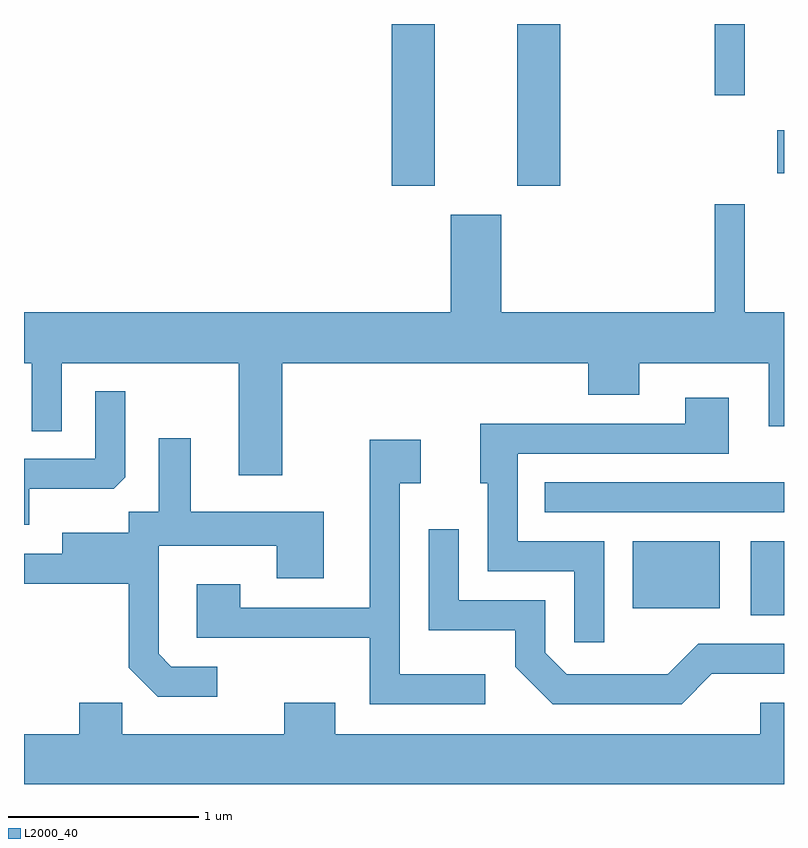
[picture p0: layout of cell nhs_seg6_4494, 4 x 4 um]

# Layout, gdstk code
import gdstk
lib = gdstk.Library(unit=1e-6, precision=1e-09)
def R(c, l, rs):  # rectangles x0, y0, x1, y1
    for r in rs: c.add(gdstk.rectangle(r[:2], r[2:], *l))
def P(c, l, *ps):  # polygons
    for p in ps: c.add(gdstk.Polygon(p, *l))
L2000_40 = (2000, 40)

nhs_seg6_4494 = lib.new_cell('nhs_seg6_4494')
R(nhs_seg6_4494, L2000_40, [(325.436,1653.051,325.611,1653.439), (324.816,1653.086,325.274,1653.439), (324.353,1653.591,325.611,1653.749), (323.546,1655.311,323.774,1656.162), (324.206,1655.311,324.434,1656.162), (325.576,1655.376,325.611,1655.604), (325.246,1655.788,325.404,1656.162)])
P(nhs_seg6_4494, L2000_40, [(322.969,1654.376),(324.581,1654.376),(324.581,1654.211),(324.849,1654.211),(324.849,1654.376),(325.531,1654.376),(325.531,1654.046),(325.611,1654.046),(325.611,1654.644),(325.404,1654.644),(325.404,1655.213),(325.246,1655.213),(325.246,1654.644),(324.124,1654.644),(324.124,1655.159),(323.856,1655.159),(323.856,1654.644),(321.611,1654.644),(321.611,1654.376),(321.651,1654.376),(321.651,1654.018),(321.809,1654.018),(321.809,1654.376),(322.741,1654.376),(322.741,1653.786),(322.969,1653.786)],
  [(321.639,1653.716),(322.084,1653.716),(322.144,1653.777),(322.144,1654.228),(321.986,1654.228),(321.986,1653.874),(321.611,1653.874),(321.611,1653.526),(321.639,1653.526)],
  [(324.664,1653.439),(324.209,1653.439),(324.209,1653.901),(325.319,1653.901),(325.319,1654.194),(325.091,1654.194),(325.091,1654.059),(324.011,1654.059),(324.011,1653.746),(324.051,1653.746),(324.051,1653.281),(324.506,1653.281),(324.506,1652.908),(324.664,1652.908)],
  [(322.628,1652.779),(322.387,1652.779),(322.319,1652.847),(322.319,1653.416),(322.941,1653.416),(322.941,1653.246),(323.189,1653.246),(323.189,1653.594),(322.489,1653.594),(322.489,1653.983),(322.321,1653.983),(322.321,1653.594),(322.161,1653.594),(322.161,1653.484),(321.811,1653.484),(321.811,1653.374),(321.611,1653.374),(321.611,1653.216),(322.161,1653.216),(322.161,1652.774),(322.314,1652.621),(322.628,1652.621)],
  [(324.038,1652.739),(323.589,1652.739),(323.589,1653.746),(323.699,1653.746),(323.699,1653.974),(323.431,1653.974),(323.431,1653.089),(322.749,1653.089),(322.749,1653.214),(322.521,1653.214),(322.521,1652.931),(323.431,1652.931),(323.431,1652.581),(324.038,1652.581)],
  [(325.232,1652.741),(325.611,1652.741),(325.611,1652.899),(325.159,1652.899),(324.999,1652.739),(324.467,1652.739),(324.354,1652.852),(324.354,1653.129),(323.899,1653.129),(323.899,1653.503),(323.741,1653.503),(323.741,1652.971),(324.196,1652.971),(324.196,1652.779),(324.394,1652.581),(325.072,1652.581)],
  [(325.611,1652.589),(325.486,1652.589),(325.486,1652.424),(323.249,1652.424),(323.249,1652.589),(322.981,1652.589),(322.981,1652.424),(322.129,1652.424),(322.129,1652.589),(321.901,1652.589),(321.901,1652.424),(321.611,1652.424),(321.611,1652.162),(325.611,1652.162)])

lib.write_gds('nhs_seg6_4494.gds')
